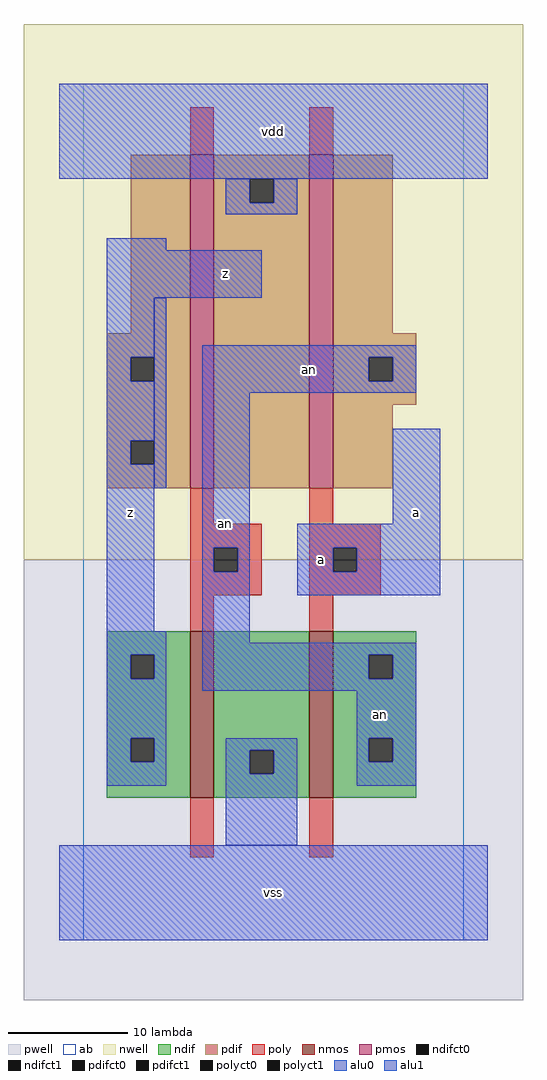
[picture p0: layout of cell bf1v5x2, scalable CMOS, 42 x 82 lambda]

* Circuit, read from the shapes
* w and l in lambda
.subckt bf1v5x2 a an vdd vss z
M1 vss an z VSUBS nfet w=14 l=2
M2 an a vss VSUBS nfet w=14 l=2
M3 vdd an z n1 pfet w=28 l=2
M4 an a vdd n1 pfet w=28 l=2
.ends

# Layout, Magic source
magic
tech scmos
<< ab >>
rect 0 0 32 72
<< nwell >>
rect -5 32 37 77
<< pwell >>
rect -5 -5 37 32
<< poly >>
rect 9 66 11 70
rect 19 66 21 70
rect 9 35 11 38
rect 19 35 21 38
rect 9 33 15 35
rect 9 31 11 33
rect 13 31 15 33
rect 9 29 15 31
rect 19 33 25 35
rect 19 31 21 33
rect 23 31 25 33
rect 19 29 25 31
rect 9 26 11 29
rect 19 26 21 29
rect 9 7 11 12
rect 19 7 21 12
<< ndif >>
rect 2 24 9 26
rect 2 22 4 24
rect 6 22 9 24
rect 2 17 9 22
rect 2 15 4 17
rect 6 15 9 17
rect 2 12 9 15
rect 11 16 19 26
rect 11 14 14 16
rect 16 14 19 16
rect 11 12 19 14
rect 21 24 28 26
rect 21 22 24 24
rect 26 22 28 24
rect 21 17 28 22
rect 21 15 24 17
rect 26 15 28 17
rect 21 12 28 15
<< pdif >>
rect 4 51 9 66
rect 2 49 9 51
rect 2 47 4 49
rect 6 47 9 49
rect 2 42 9 47
rect 2 40 4 42
rect 6 40 9 42
rect 2 38 9 40
rect 11 64 19 66
rect 11 62 14 64
rect 16 62 19 64
rect 11 38 19 62
rect 21 51 26 66
rect 21 49 28 51
rect 21 47 24 49
rect 26 47 28 49
rect 21 45 28 47
rect 21 38 26 45
<< alu1 >>
rect -2 64 34 72
rect 2 58 7 59
rect 2 54 15 58
rect 2 49 6 54
rect 2 47 4 49
rect 2 42 6 47
rect 2 40 4 42
rect 2 26 6 40
rect 26 35 30 43
rect 2 24 7 26
rect 2 22 4 24
rect 6 22 7 24
rect 2 17 7 22
rect 18 33 30 35
rect 18 31 21 33
rect 23 31 30 33
rect 18 29 30 31
rect 2 15 4 17
rect 6 15 7 17
rect 2 13 7 15
rect -2 0 34 8
<< nmos >>
rect 9 12 11 26
rect 19 12 21 26
<< pmos >>
rect 9 38 11 66
rect 19 38 21 66
<< polyct0 >>
rect 11 31 13 33
<< polyct1 >>
rect 21 31 23 33
<< ndifct0 >>
rect 14 14 16 16
rect 24 22 26 24
rect 24 15 26 17
<< ndifct1 >>
rect 4 22 6 24
rect 4 15 6 17
<< pdifct0 >>
rect 14 62 16 64
rect 24 47 26 49
<< pdifct1 >>
rect 4 47 6 49
rect 4 40 6 42
<< alu0 >>
rect 12 62 14 64
rect 16 62 18 64
rect 12 61 18 62
rect 6 38 7 54
rect 10 49 28 50
rect 10 47 24 49
rect 26 47 28 49
rect 10 46 28 47
rect 10 33 14 46
rect 10 31 11 33
rect 13 31 14 33
rect 10 25 14 31
rect 10 24 28 25
rect 10 22 24 24
rect 26 22 28 24
rect 10 21 28 22
rect 23 17 28 21
rect 12 16 18 17
rect 12 14 14 16
rect 16 14 18 16
rect 12 8 18 14
rect 23 15 24 17
rect 26 15 28 17
rect 23 13 28 15
<< labels >>
rlabel alu0 12 35 12 35 6 an
rlabel alu0 25 19 25 19 6 an
rlabel alu0 19 48 19 48 6 an
rlabel alu1 4 36 4 36 6 z
rlabel alu1 16 4 16 4 6 vss
rlabel alu1 12 56 12 56 6 z
rlabel alu1 16 68 16 68 6 vdd
rlabel alu1 20 32 20 32 6 a
rlabel alu1 28 36 28 36 6 a
<< end >>
